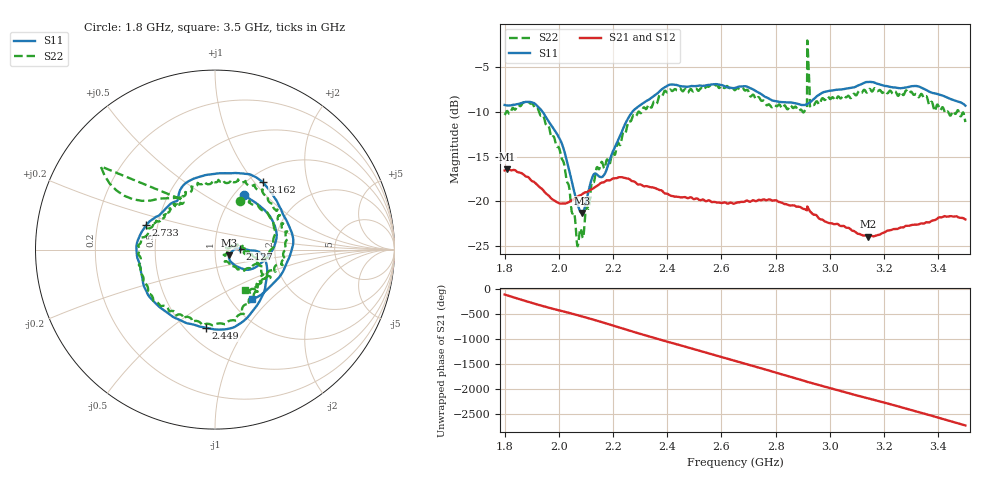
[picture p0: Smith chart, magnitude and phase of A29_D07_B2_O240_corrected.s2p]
! Created with skrf 1.9.0 (http://scikit-rf.org).
# Hz S RI R 50.0
!freq ReS11 ImS11 ReS21 ImS21 ReS12 ImS12 ReS22 ImS22
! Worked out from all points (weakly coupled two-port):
!   1601 points, 1.8 GHz to 3.5 GHz, reference 50 ohm
!   highest |S21| = -16.44 dB at 1.811 GHz (marker M1); lowest = -23.9 dB at 3.14 GHz (marker M2)
!   lowest |S11| = -21.3 dB at 2.085 GHz (marker M3), VSWR 1.19, Z = 58.6 - j3.7 ohm
!   |S11| at or under -10 dB: 1.94 GHz to 2.272 GHz (331.8 MHz wide, 15.8 % of centre)
!   |S22| runs from -25.0 to -2.1 dB; largest |S21 - S12| = 0.0027
!   S11 on the Smith chart (normalised r, x): 1.8 GHz: 1.11, +0.77; 2.127 GHz: 1.33, +0.01; 2.449 GHz: 0.62, -0.67; 2.733 GHz: 0.43, +0.14; 3.162 GHz: 1.16, +1.11; 3.5 GHz: 1.25, -0.77
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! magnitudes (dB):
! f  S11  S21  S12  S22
! 1.8 GHz  -9.3  -16.5  -16.5  -10.4
! 1.811 GHz  -9.3  -16.4  -16.4  -9.9
! 1.883 GHz  -8.9  -17.2  -17.3  -8.9
! 1.942 GHz  -10.1  -18.7  -18.7  -10.4
! 2.01 GHz  -13.5  -20.2  -20.2  -15.2
! 2.067 GHz  -20.1  -19.5  -19.5  -24.6
! 2.084 GHz  -21.3  -19.3  -19.2  -23.3
! 2.085 GHz  -21.3  -19.2  -19.2  -23.5
! 2.127 GHz  -17.1  -18.5  -18.5  -17.9
! 2.168 GHz  -17.0  -17.8  -17.8  -16.3
! 2.266 GHz  -10.2  -17.6  -17.6  -11.0
! 2.367 GHz  -7.9  -18.7  -18.6  -8.5
! 2.449 GHz  -7.2  -19.5  -19.5  -7.4
! 2.65 GHz  -7.4  -20.2  -20.2  -7.6
! 2.733 GHz  -7.8  -19.9  -19.9  -8.5
! 2.903 GHz  -9.3  -20.8  -20.8  -10.1
! 2.925 GHz  -9.0  -21.0  -21.0  -7.5
! 2.934 GHz  -8.8  -21.3  -21.3  -9.2
! 3.14 GHz  -6.7  -23.9  -23.8  -7.8
! 3.162 GHz  -6.7  -23.9  -23.8  -7.5
! 3.217 GHz  -7.2  -23.2  -23.2  -7.8
! 3.5 GHz  -9.3  -22.0  -22.0  -11.2
